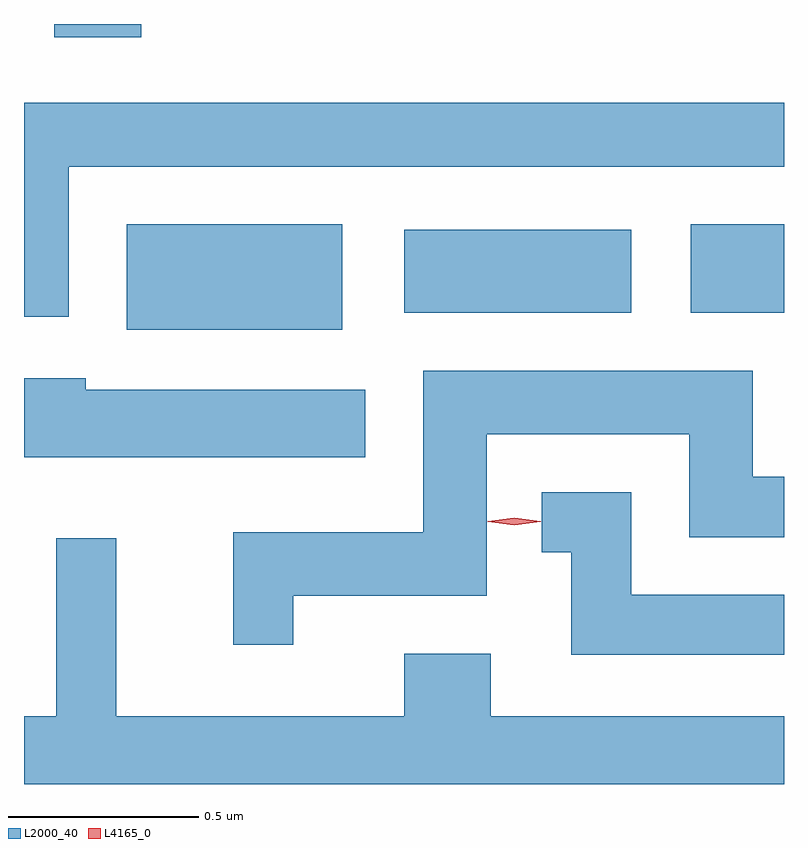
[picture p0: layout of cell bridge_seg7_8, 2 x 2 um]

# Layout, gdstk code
import gdstk
lib = gdstk.Library(unit=1e-6, precision=1e-09)
def R(c, l, rs):  # rectangles x0, y0, x1, y1
    for r in rs: c.add(gdstk.rectangle(r[:2], r[2:], *l))
def P(c, l, *ps):  # polygons
    for p in ps: c.add(gdstk.Polygon(p, *l))
L2000_40 = (2000, 40)
L4165_0 = (4165, 0)

bridge_seg7_8 = lib.new_cell('bridge_seg7_8')
R(bridge_seg7_8, L2000_40, [(1686.751,1795.521,1687.319,1795.799), (1687.481,1795.566,1688.079,1795.784), (1688.236,1795.566,1688.481,1795.799), (1686.561,1796.291,1686.789,1796.326)])
P(bridge_seg7_8, L2000_40, [(1686.599,1795.951),(1688.481,1795.951),(1688.481,1796.119),(1686.481,1796.119),(1686.481,1795.556),(1686.599,1795.556)],
  [(1687.189,1794.821),(1687.699,1794.821),(1687.699,1795.246),(1688.231,1795.246),(1688.231,1794.976),(1688.481,1794.976),(1688.481,1795.134),(1688.399,1795.134),(1688.399,1795.414),(1687.531,1795.414),(1687.531,1794.989),(1687.031,1794.989),(1687.031,1794.693),(1687.189,1794.693)],
  [(1687.379,1795.364),(1686.644,1795.364),(1686.644,1795.394),(1686.481,1795.394),(1686.481,1795.186),(1687.379,1795.186)],
  [(1688.481,1794.824),(1688.079,1794.824),(1688.079,1795.094),(1687.843,1795.094),(1687.843,1794.936),(1687.921,1794.936),(1687.921,1794.666),(1688.481,1794.666)],
  [(1688.481,1794.504),(1687.709,1794.504),(1687.709,1794.669),(1687.481,1794.669),(1687.481,1794.504),(1686.724,1794.504),(1686.724,1794.973),(1686.566,1794.973),(1686.566,1794.504),(1686.481,1794.504),(1686.481,1794.326),(1688.481,1794.326)])
P(bridge_seg7_8, L4165_0, [(1687.771,1795.007),(1687.702,1795.016),(1687.702,1795.017),(1687.702,1795.017),(1687.771,1795.027),(1687.841,1795.017),(1687.841,1795.016),(1687.841,1795.016)])

lib.write_gds('bridge_seg7_8.gds')
